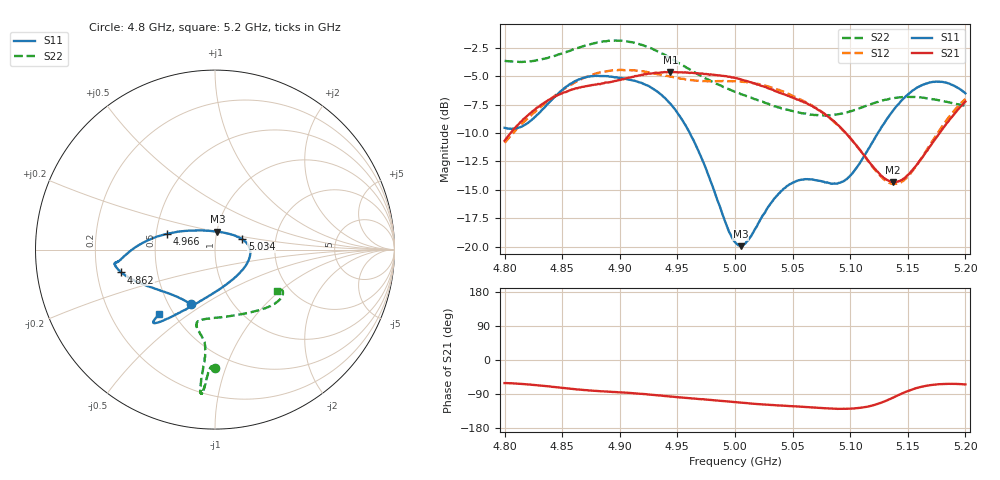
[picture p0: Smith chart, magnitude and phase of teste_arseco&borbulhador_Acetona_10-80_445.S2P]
! Network Analyzer HP8722D
! Hewlett-Packard
! Data name: Linha & Wilkinson
! Saver's name: Rodrigo Anjos
! Comments: Teste da utilização de aquisição
! continua pelo VNA HP8722D
! Time and date: 17/4/2025 18:04
!  Frequency  S11  S21  S12  S22
# HZ  S  MA R 50
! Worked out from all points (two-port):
!   401 points, 4.8 GHz to 5.2 GHz, reference 50 ohm
!   highest |S21| = -4.62 dB at 4.944 GHz (marker M1); lowest = -14.3 dB at 5.137 GHz (marker M2)
!   |S21| within 3 dB of the highest: 4.83 GHz to 5.067 GHz (236.6 MHz wide, 4.78 % of centre); 5.196306 GHz to end of sweep
!   lowest |S11| = -20.0 dB at 5.005 GHz (marker M3), VSWR 1.22, Z = 50.3 + j10.1 ohm
!   |S11| at or under -10 dB: 4.961 GHz to 5.124 GHz (163.3 MHz wide, 3.24 % of centre)
!   |S22| runs from -8.5 to -1.9 dB; largest |S21 - S12| = 0.88
!   S11 on the Smith chart (normalised r, x): 4.8 GHz: 0.65, -0.44; 4.862 GHz: 0.31, -0.11; 4.966 GHz: 0.57, +0.11; 5.034 GHz: 1.35, +0.16; 5.2 GHz: 0.42, -0.39
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4.8e9  0.3333 -113.5  0.2925 -60.8  0.2863 -175.0  0.657 -90.2
4.819e9  0.3472 -133.6  0.3737 -64.3  0.3626 -173.8  0.6515 -91.7
4.862e9  0.5368 -166.3  0.4982 -77.4  0.5313 -177.0  0.7446 -94.0
4.867e9  0.5496 -168.2  0.5043 -78.6  0.5463 -178.0  0.7584 -94.3
4.9e9  0.5523 -172.7  0.541 -85.2  0.5988 175.5  0.8047 -95.6
4.934e9  0.475 -178.8  0.5822 -93.6  0.5748 171.9  0.7181 -96.1
4.944e9  0.425 176.6  0.5874 -96.6  0.5591 171.8  0.6756 -95.7
4.966e9  0.2791 161.6  0.5792 -102.1  0.5373 173.8  0.5801 -95.2
5e9  0.1048 98.9  0.5528 -111.2  0.5344 176.1  0.4799 -99.4
5.005e9  0.1005 82.3  0.5443 -112.4  0.5327 176.1  0.4688 -100.6
5.013e9  0.1098 57.2  0.5294 -114.7  0.5266 175.8  0.4541 -102.4
5.034e9  0.1626 20.9  0.4853 -119.3  0.4979 174.6  0.4149 -103.9
5.049e9  0.1896 5.5  0.4545 -121.7  0.4642 174.0  0.3958 -100.1
5.067e9  0.1975 -13.7  0.4159 -125.1  0.4179 173.4  0.3807 -90.7
5.086e9  0.1896 -43.9  0.3564 -128.4  0.3532 173.6  0.3806 -76.3
5.097e9  0.1982 -66.8  0.3126 -128.7  0.3127 174.6  0.3899 -67.2
5.134e9  0.3775 -116.8  0.1945 -103.7  0.1907 -156.6  0.4469 -43.0
5.137e9  0.3949 -118.7  0.1919 -99.7  0.1893 -151.8  0.4501 -41.8
5.15e9  0.4671 -124.6  0.2066 -82.1  0.2034 -131.7  0.4559 -36.7
5.17e9  0.5284 -129.3  0.2792 -66.1  0.2845 -112.3  0.447 -32.1
5.184e9  0.5251 -130.6  0.3503 -63.0  0.3617 -107.3  0.4335 -31.1
5.2e9  0.4727 -131.0  0.4348 -64.5  0.4467 -106.5  0.4163 -33.5
